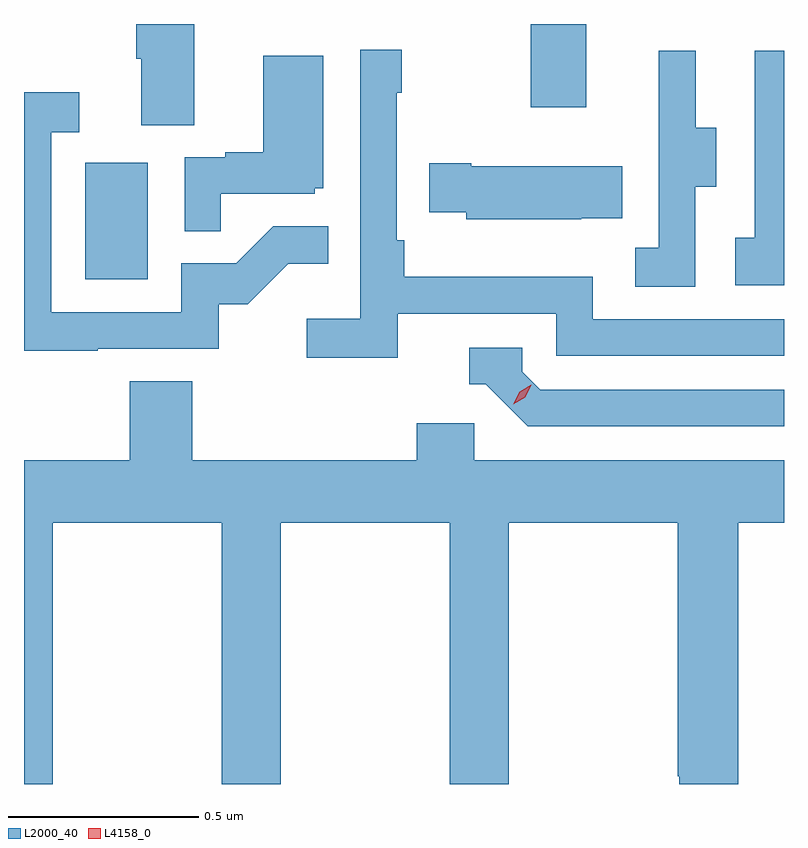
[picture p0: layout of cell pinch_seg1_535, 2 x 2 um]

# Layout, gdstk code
import gdstk
lib = gdstk.Library(unit=1e-6, precision=1e-09)
def R(c, l, rs):  # rectangles x0, y0, x1, y1
    for r in rs: c.add(gdstk.rectangle(r[:2], r[2:], *l))
def P(c, l, *ps):  # polygons
    for p in ps: c.add(gdstk.Polygon(p, *l))
L2000_40 = (2000, 40)
L4158_0 = (4158, 0)

pinch_seg1_535 = lib.new_cell('pinch_seg1_535')
R(pinch_seg1_535, L2000_40, [(1061.756,539.052,1061.92,539.359), (1062.928,539.505,1063.075,539.724)])
P(pinch_seg1_535, L2000_40, [(1062.043,539.724),(1061.891,539.724),(1061.891,539.632),(1061.903,539.632),(1061.903,539.458),(1062.043,539.458)],
  [(1062.578,538.962),(1062.996,538.962),(1062.996,538.851),(1063.595,538.851),(1063.595,538.947),(1063.092,538.947),(1063.092,539.059),(1062.596,539.059),(1062.596,539.155),(1062.576,539.155),(1062.576,539.543),(1062.589,539.543),(1062.589,539.656),(1062.48,539.656),(1062.48,538.948),(1062.339,538.948),(1062.339,538.846),(1062.578,538.846)],
  [(1063.595,539.653),(1063.518,539.653),(1063.518,539.162),(1063.467,539.162),(1063.467,539.037),(1063.595,539.037)],
  [(1063.362,539.296),(1063.417,539.296),(1063.417,539.451),(1063.363,539.451),(1063.363,539.653),(1063.265,539.653),(1063.265,539.439),(1063.266,539.439),(1063.266,539.135),(1063.203,539.135),(1063.203,539.032),(1063.362,539.032)],
  [(1062.113,539.277),(1062.36,539.277),(1062.36,539.292),(1062.382,539.292),(1062.382,539.641),(1062.224,539.641),(1062.224,539.386),(1062.125,539.386),(1062.125,539.373),(1062.018,539.373),(1062.018,539.179),(1062.113,539.179)],
  [(1061.789,538.869),(1062.108,538.869),(1062.108,538.986),(1062.184,538.986),(1062.291,539.093),(1062.395,539.093),(1062.395,539.192),(1062.251,539.192),(1062.153,539.094),(1062.009,539.094),(1062.009,538.965),(1061.667,538.965),(1061.667,539.439),(1061.74,539.439),(1061.74,539.545),(1061.595,539.545),(1061.595,538.864),(1061.789,538.864)],
  [(1063.061,539.213),(1063.169,539.213),(1063.169,539.35),(1062.772,539.35),(1062.772,539.358),(1062.661,539.358),(1062.661,539.228),(1062.759,539.228),(1062.759,539.21),(1063.061,539.21)],
  [(1063.595,538.761),(1062.954,538.761),(1062.906,538.809),(1062.906,538.872),(1062.767,538.872),(1062.767,538.776),(1062.81,538.776),(1062.921,538.665),(1063.595,538.665)],
  [(1061.67,538.412),(1062.115,538.412),(1062.115,537.724),(1062.27,537.724),(1062.27,538.412),(1062.715,538.412),(1062.715,537.724),(1062.87,537.724),(1062.87,538.412),(1063.315,538.412),(1063.315,537.745),(1063.319,537.745),(1063.319,537.724),(1063.475,537.724),(1063.475,538.412),(1063.595,538.412),(1063.595,538.576),(1062.78,538.576),(1062.78,538.674),(1062.629,538.674),(1062.629,538.576),(1062.038,538.576),(1062.038,538.784),(1061.873,538.784),(1061.873,538.576),(1061.595,538.576),(1061.595,537.724),(1061.67,537.724)])
P(pinch_seg1_535, L4158_0, [(1062.882,538.723),(1062.882,538.724),(1062.899,538.756),(1062.93,538.775),(1062.93,538.775),(1062.93,538.774),(1062.914,538.742),(1062.883,538.723)])

lib.write_gds('pinch_seg1_535.gds')
